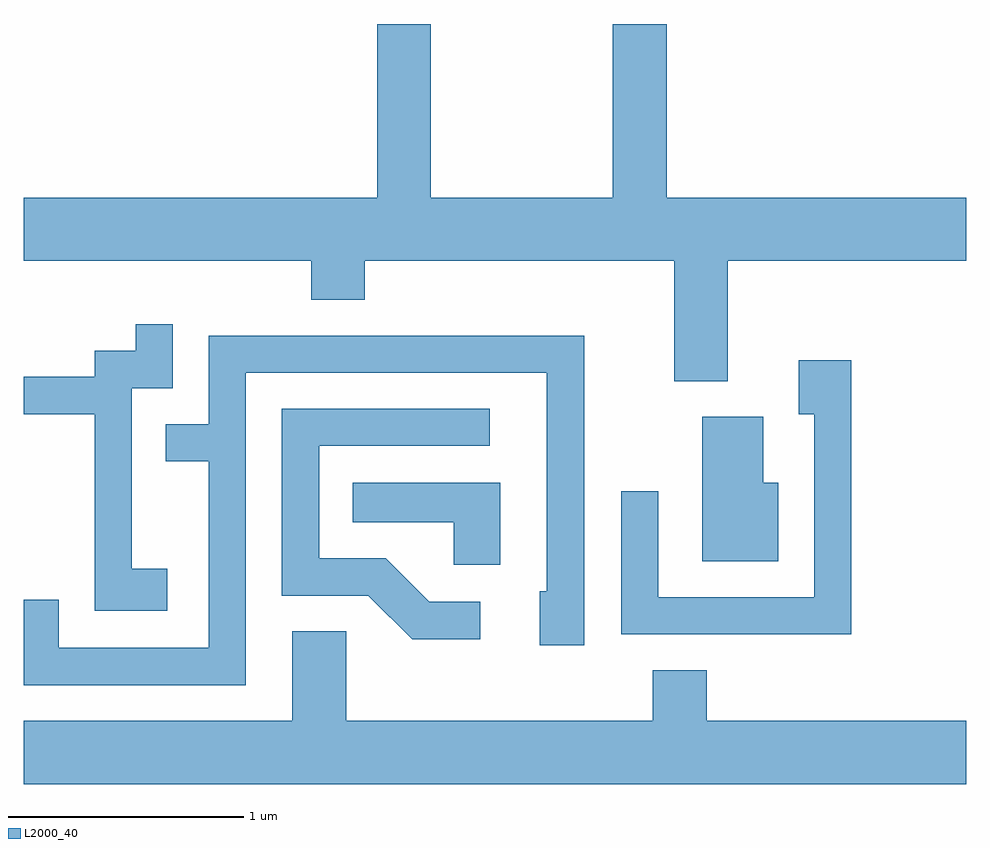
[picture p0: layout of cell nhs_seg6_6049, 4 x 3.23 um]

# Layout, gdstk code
import gdstk
lib = gdstk.Library(unit=1e-6, precision=1e-09)
def P(c, l, *ps):  # polygons
    for p in ps: c.add(gdstk.Polygon(p, *l))
L2000_40 = (2000, 40)

nhs_seg6_6049 = lib.new_cell('nhs_seg6_6049')
P(nhs_seg6_6049, L2000_40, [(372.599,1541.156),(373.611,1541.156),(373.611,1541.424),(372.339,1541.424),(372.339,1542.162),(372.111,1542.162),(372.111,1541.424),(371.339,1541.424),(371.339,1542.162),(371.111,1542.162),(371.111,1541.424),(369.611,1541.424),(369.611,1541.156),(370.831,1541.156),(370.831,1540.991),(371.059,1540.991),(371.059,1541.156),(372.371,1541.156),(372.371,1540.646),(372.599,1540.646)],
  [(370.219,1539.849),(370.069,1539.849),(370.069,1540.616),(370.244,1540.616),(370.244,1540.888),(370.086,1540.888),(370.086,1540.774),(369.911,1540.774),(369.911,1540.664),(369.611,1540.664),(369.611,1540.506),(369.911,1540.506),(369.911,1539.671),(370.219,1539.671)],
  [(370.554,1540.681),(371.831,1540.681),(371.831,1539.754),(371.801,1539.754),(371.801,1539.526),(371.989,1539.526),(371.989,1540.839),(370.396,1540.839),(370.396,1540.464),(370.213,1540.464),(370.213,1540.306),(370.396,1540.306),(370.396,1539.514),(369.759,1539.514),(369.759,1539.719),(369.611,1539.719),(369.611,1539.356),(370.554,1539.356)],
  [(373.124,1540.734),(372.901,1540.734),(372.901,1540.506),(372.966,1540.506),(372.966,1539.729),(372.304,1539.729),(372.304,1540.178),(372.146,1540.178),(372.146,1539.571),(373.124,1539.571)],
  [(371.548,1539.709),(371.332,1539.709),(371.147,1539.894),(370.864,1539.894),(370.864,1540.371),(371.588,1540.371),(371.588,1540.529),(370.706,1540.529),(370.706,1539.736),(371.074,1539.736),(371.259,1539.551),(371.548,1539.551)],
  [(372.814,1540.214),(372.749,1540.214),(372.749,1540.494),(372.491,1540.494),(372.491,1539.881),(372.814,1539.881)],
  [(371.634,1540.214),(371.008,1540.214),(371.008,1540.046),(371.436,1540.046),(371.436,1539.866),(371.634,1539.866)],
  [(373.611,1539.204),(372.509,1539.204),(372.509,1539.419),(372.281,1539.419),(372.281,1539.204),(370.979,1539.204),(370.979,1539.584),(370.751,1539.584),(370.751,1539.204),(369.611,1539.204),(369.611,1538.936),(373.611,1538.936)])

lib.write_gds('nhs_seg6_6049.gds')
